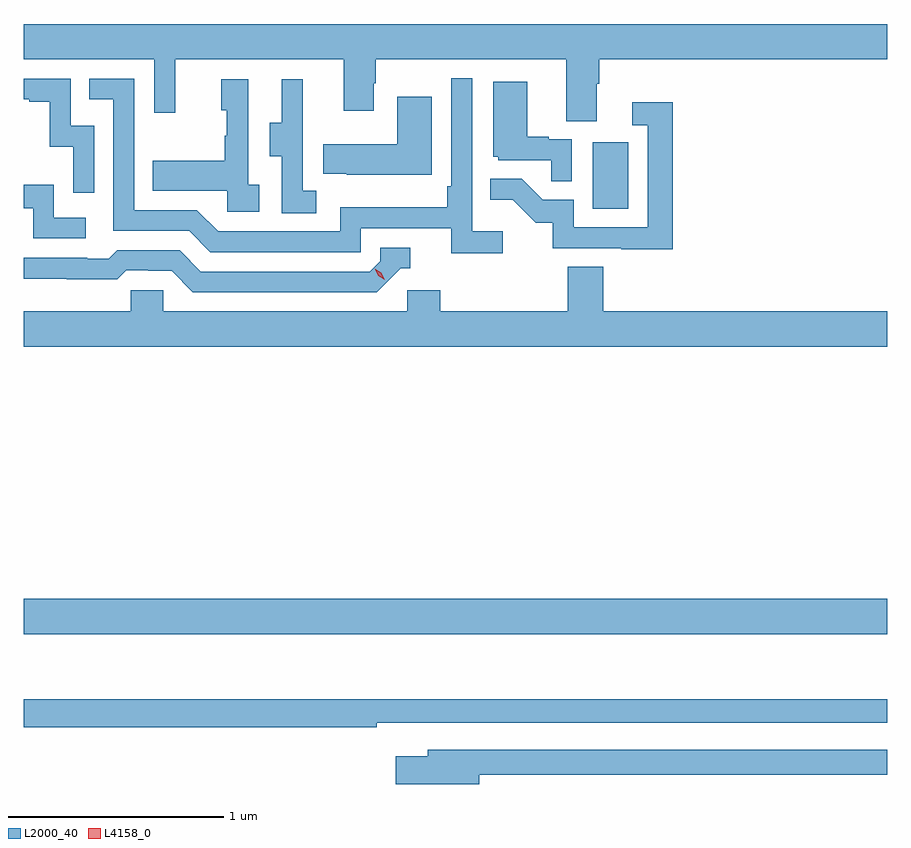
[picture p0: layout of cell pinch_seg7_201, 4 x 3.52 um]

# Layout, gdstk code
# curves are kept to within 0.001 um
import gdstk
lib = gdstk.Library(unit=1e-6, precision=1e-09)
def R(c, l, rs):  # rectangles x0, y0, x1, y1
    for r in rs: c.add(gdstk.rectangle(r[:2], r[2:], *l))
def P(c, l, *ps):  # polygons
    for p in ps: c.add(gdstk.Polygon(p, *l))
L2000_40 = (2000, 40)
L4158_0 = (4158, 0)

pinch_seg7_201 = lib.new_cell('pinch_seg7_201')
R(pinch_seg7_201, L2000_40, [(649.127,1005.944,653.127,1006.108), (651.764,1007.916,651.928,1008.223)])
P(pinch_seg7_201, L2000_40, [(651.781,1008.496),(651.794,1008.496),(651.794,1008.608),(653.127,1008.608),(653.127,1008.772),(649.127,1008.772),(649.127,1008.608),(649.731,1008.608),(649.731,1008.36),(649.829,1008.36),(649.829,1008.608),(650.609,1008.608),(650.609,1008.369),(650.749,1008.369),(650.749,1008.497),(650.757,1008.497),(650.757,1008.608),(651.641,1008.608),(651.641,1008.322),(651.781,1008.322)],
  [(651.346,1007.812),(651.204,1007.812),(651.204,1008.52),(651.108,1008.52),(651.108,1008.019),(651.088,1008.019),(651.088,1007.923),(650.592,1007.923),(650.592,1007.811),(650.028,1007.811),(649.929,1007.91),(649.638,1007.91),(649.638,1008.519),(649.429,1008.519),(649.429,1008.423),(649.542,1008.423),(649.542,1007.814),(649.892,1007.814),(649.991,1007.715),(650.688,1007.715),(650.688,1007.826),(651.107,1007.826),(651.107,1007.71),(651.346,1007.71)],
  [(649.452,1008.3),(649.344,1008.3),(649.344,1008.519),(649.127,1008.519),(649.127,1008.423),(649.151,1008.423),(649.151,1008.411),(649.247,1008.411),(649.247,1008.203),(649.356,1008.203),(649.356,1007.991),(649.452,1007.991)],
  [(650.218,1008.026),(650.166,1008.026),(650.166,1008.517),(650.042,1008.517),(650.042,1008.372),(650.068,1008.372),(650.068,1008.254),(650.058,1008.254),(650.058,1008.139),(649.723,1008.139),(649.723,1007.999),(650.07,1007.999),(650.07,1007.901),(650.218,1007.901)],
  [(650.482,1007.999),(650.418,1007.999),(650.418,1008.303),(650.42,1008.303),(650.42,1008.517),(650.321,1008.517),(650.321,1008.315),(650.267,1008.315),(650.267,1008.16),(650.322,1008.16),(650.322,1007.896),(650.482,1007.896)],
  [(651.666,1008.237),(651.56,1008.237),(651.56,1008.25),(651.46,1008.25),(651.46,1008.505),(651.302,1008.505),(651.302,1008.156),(651.324,1008.156),(651.324,1008.141),(651.571,1008.141),(651.571,1008.043),(651.666,1008.043)],
  [(651.016,1008.436),(650.858,1008.436),(650.858,1008.214),(650.515,1008.214),(650.515,1008.077),(650.623,1008.077),(650.623,1008.074),(651.016,1008.074)],
  [(652.133,1008.409),(651.945,1008.409),(651.945,1008.303),(652.017,1008.303),(652.017,1007.829),(651.675,1007.829),(651.675,1007.958),(651.531,1007.958),(651.433,1008.056),(651.289,1008.056),(651.289,1007.957),(651.393,1007.957),(651.5,1007.85),(651.577,1007.85),(651.577,1007.733),(651.895,1007.733),(651.895,1007.728),(652.133,1007.728)],
  [(649.414,1007.874),(649.266,1007.874),(649.266,1008.028),(649.127,1008.028),(649.127,1007.919),(649.17,1007.919),(649.17,1007.778),(649.414,1007.778)],
  [(650.874,1007.64),(650.917,1007.64),(650.917,1007.736),(650.778,1007.736),(650.778,1007.673),(650.73,1007.625),(649.947,1007.625),(649.848,1007.724),(649.559,1007.724),(649.52,1007.685),(649.421,1007.685),(649.421,1007.688),(649.127,1007.689),(649.127,1007.591),(649.326,1007.591),(649.326,1007.589),(649.559,1007.589),(649.601,1007.631),(649.704,1007.631),(649.704,1007.628),(649.811,1007.628),(649.91,1007.529),(650.763,1007.529)],
  [(651.647,1007.648),(651.647,1007.44),(651.056,1007.44),(651.056,1007.538),(650.904,1007.538),(650.904,1007.44),(649.773,1007.44),(649.773,1007.538),(649.623,1007.538),(649.623,1007.44),(649.127,1007.44),(649.127,1007.276),(653.127,1007.276),(653.127,1007.44),(651.812,1007.44),(651.812,1007.648)],
  [(650.762,1005.534),(653.127,1005.534),(653.127,1005.643),(649.127,1005.643),(649.127,1005.514),(650.762,1005.514)],
  [(651.238,1005.292),(653.127,1005.292),(653.127,1005.408),(650.999,1005.408),(650.999,1005.379),(650.85,1005.379),(650.85,1005.25),(651.238,1005.25)])
P(pinch_seg7_201, L4158_0, [(650.8,1007.586),(650.769,1007.605),(650.753,1007.638),(650.753,1007.638),(650.753,1007.638),(650.784,1007.619),(650.8,1007.586),(650.8,1007.586)])

lib.write_gds('pinch_seg7_201.gds')
